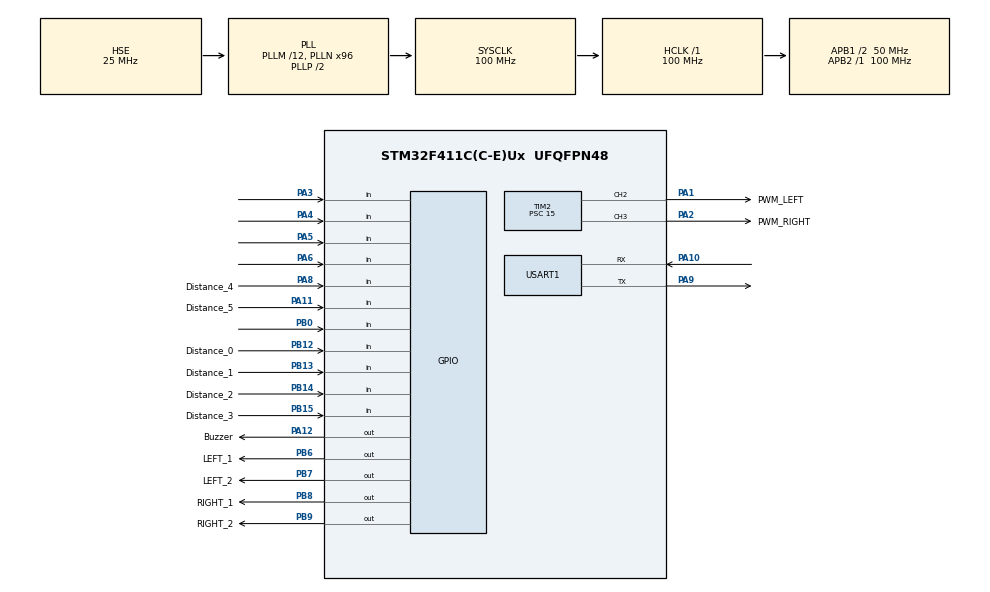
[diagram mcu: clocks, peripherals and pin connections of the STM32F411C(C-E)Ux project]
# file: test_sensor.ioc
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Mcu.Family=STM32F4
Mcu.Name=STM32F411C(C-E)Ux
Mcu.Package=UFQFPN48
NVIC.PriorityGroup=NVIC_PRIORITYGROUP_4
PA1.GPIO_Label=PWM_LEFT
PA1.Signal=S_TIM2_CH2
PA10.Mode=Asynchronous
PA10.Signal=USART1_RX
PA11.GPIO_Label=Distance_5
PA11.Signal=GPIO_Input
PA12.GPIO_Label=Buzzer
PA12.Signal=GPIO_Output
PA13.Mode=Serial_Wire
PA13.Signal=SYS_JTMS-SWDIO
PA14.Mode=Serial_Wire
PA14.Signal=SYS_JTCK-SWCLK
PA2.GPIO_Label=PWM_RIGHT
PA2.Signal=S_TIM2_CH3
PA3.Signal=GPIO_Input
PA4.Signal=GPIO_Input
PA5.Signal=GPIO_Input
PA6.Signal=GPIO_Input
PA8.GPIO_Label=Distance_4
PA8.Signal=GPIO_Input
PA9.Mode=Asynchronous
PA9.Signal=USART1_TX
PB0.Signal=GPIO_Input
PB12.GPIO_Label=Distance_0
PB12.Signal=GPIO_Input
PB13.GPIO_Label=Distance_1
PB13.Signal=GPIO_Input
PB14.GPIO_Label=Distance_2
PB14.Signal=GPIO_Input
PB15.GPIO_Label=Distance_3
PB15.Signal=GPIO_Input
PB6.GPIO_Label=LEFT_1
PB6.Signal=GPIO_Output
PB7.GPIO_Label=LEFT_2
PB7.Signal=GPIO_Output
PB8.GPIO_Label=RIGHT_1
PB8.Signal=GPIO_Output
PB9.GPIO_Label=RIGHT_2
PB9.Signal=GPIO_Output
PH0\ -\ OSC_IN.Mode=HSE-External-Oscillator
PH0\ -\ OSC_IN.Signal=RCC_OSC_IN
PH1\ -\ OSC_OUT.Mode=HSE-External-Oscillator
PH1\ -\ OSC_OUT.Signal=RCC_OSC_OUT
ProjectManager.HeapSize=0x200
ProjectManager.StackSize=0x400
ProjectManager.TargetToolchain=STM32CubeIDE
RCC.48MHZClocksFreq_Value=50000000
RCC.AHBFreq_Value=100000000
RCC.APB1CLKDivider=RCC_HCLK_DIV2
RCC.APB1Freq_Value=50000000
RCC.APB1TimFreq_Value=100000000
RCC.APB2Freq_Value=100000000
RCC.APB2TimFreq_Value=100000000
RCC.CortexFreq_Value=100000000
RCC.HCLKFreq_Value=100000000
RCC.HSE_VALUE=25000000
RCC.HSI_VALUE=16000000
RCC.LSE_VALUE=32768
RCC.PLLM=12
RCC.PLLN=96
RCC.PLLSourceVirtual=RCC_PLLSOURCE_HSE
RCC.SYSCLKFreq_VALUE=100000000
RCC.SYSCLKSource=RCC_SYSCLKSOURCE_PLLCLK
RCC.VCOOutputFreq_Value=200000000
SH.S_TIM2_CH2.0=TIM2_CH2,PWM Generation2 CH2
SH.S_TIM2_CH3.0=TIM2_CH3,PWM Generation3 CH3
TIM2.AutoReloadPreload=TIM_AUTORELOAD_PRELOAD_ENABLE
TIM2.Channel-PWM\ Generation2\ CH2=TIM_CHANNEL_2
TIM2.Channel-PWM\ Generation3\ CH3=TIM_CHANNEL_3
TIM2.Period=999
TIM2.Prescaler=15
USART1.VirtualMode=VM_ASYNC
VP_TIM2_VS_ClockSourceINT.Mode=Internal
board=custom

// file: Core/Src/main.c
/* USER CODE BEGIN Header */
/**
  ******************************************************************************
  * @file           : main.c
  * @brief          : Main program body
  ******************************************************************************
  */
/* USER CODE END Header */

#include "main.h"
#include "tim.h"
#include "usart.h"
#include "gpio.h"
#include <stdio.h>

/* USER CODE BEGIN Includes */
#include "TCRT5000.h"
#include "Motor.h"
#include "E3F.h"
/* USER CODE END Includes */

/* USER CODE BEGIN PTD */
typedef enum {
    STATE_SURVIVAL,
    STATE_ATTACK,
    STATE_DEFENSE,
    STATE_SEARCH,
    STATE_WAITING
} RobotState_t;
/* USER CODE END PTD */

/* USER CODE BEGIN PV */
Motor_t motorL, motorR;
LineArray_t LineArray;

E3FArray_t DistanceArray;
GPIO_TypeDef* e3f_ports[E3F_COUNT] = {GPIOB, GPIOB, GPIOB, GPIOB, GPIOA, GPIOA};
uint16_t e3f_pins[E3F_COUNT] = {GPIO_PIN_12, GPIO_PIN_13, GPIO_PIN_14, GPIO_PIN_15, GPIO_PIN_8, GPIO_PIN_11};

RobotState_t CurrentState = STATE_WAITING;
/* USER CODE END PV */

void SystemClock_Config(void);

/* USER CODE BEGIN PFP */
int _write(int file, char *ptr, int len) {
    HAL_UART_Transmit(&huart1, (uint8_t *)ptr, len, HAL_MAX_DELAY);
    return len;
}
/* USER CODE END PFP */

/* USER CODE BEGIN 0 */
void Survival_Mode(void);
void Attack_Mode(void);
void Defense_Mode(void);
void Search_Mode(void);
/* USER CODE END 0 */

int main(void)
{

    /* MCU Configuration--------------------------------------------------------*/
    HAL_Init();
    SystemClock_Config();

    MX_GPIO_Init();
    MX_USART1_UART_Init();
    MX_TIM2_Init();

    /* USER CODE BEGIN 2 */
    Line_Init(&LineArray, true);
    E3FArray_Init(&DistanceArray, e3f_ports, e3f_pins, GPIO_PIN_SET);

    Motor_Init(&motorL, &htim2, TIM_CHANNEL_2, GPIOB, GPIO_PIN_6, GPIOB, GPIO_PIN_7);
    Motor_Init(&motorR, &htim2, TIM_CHANNEL_3, GPIOB, GPIO_PIN_8, GPIOB, GPIO_PIN_9);

    // LUẬT 5 GIÂY VÀ KHỞI ĐỘNG CHIẾN THUẬT
    Motor_SetSpeed(&motorL, 0);
    Motor_SetSpeed(&motorR, 0);
    HAL_Delay(4500);

    // Chiến thuật lao ra giữa sân ban đầu
    Motor_SetSpeed(&motorL, -1000);
    Motor_SetSpeed(&motorR, 1000);
    HAL_Delay(3200);

    static uint32_t last_active_time = 0;
    /* USER CODE END 2 */

    /* Infinite loop */
    while (1)
    {

        /* USER CODE BEGIN 3 */

        // 1. CẬP NHẬT DỮ LIỆU CẢM BIẾN
        Line_Update(&LineArray);
        E3FArray_Update(&DistanceArray);

        uint8_t force_web_update = 0;

        // 2. QUYẾT ĐỊNH TRẠNG THÁI VÀ ĐIỀU KHIỂN ĐỘNG CƠ

        // ƯU TIÊN 1: SINH TỒN
        if (!Line_NoDetection(&LineArray)) {
            if (CurrentState != STATE_SURVIVAL) {
                CurrentState = STATE_SURVIVAL;
                force_web_update = 1;
            }
            Survival_Mode();
        }
        // ƯU TIÊN 2: TẤN CÔNG
        else if (DistanceArray.Results[1] || DistanceArray.Results[2] || DistanceArray.Results[3]) {
            if (CurrentState != STATE_ATTACK) {
                CurrentState = STATE_ATTACK;
                force_web_update = 1;
            }
            Attack_Mode();
        }
        // ƯU TIÊN 3: PHÒNG THỦ
        else if (DistanceArray.Results[0] || DistanceArray.Results[4] || DistanceArray.Results[5]) {
            if (CurrentState != STATE_DEFENSE) {
                CurrentState = STATE_DEFENSE;
                force_web_update = 1;
            }
            Defense_Mode();
        }
        // ƯU TIÊN 4: TÌM KIẾM
        else {
            if (CurrentState != STATE_SEARCH) {
                CurrentState = STATE_SEARCH;
                force_web_update = 1;
            }
            Search_Mode();
        }

        // 3. TÍNH NĂNG CHỐNG ĐƠ 2 GIÂY (ANTI-STALL)
        if (TIM2->CCR2 == 0 && TIM2->CCR3 == 0) {
            // Nếu bị đứng im quá 2000ms (2 giây)
            if (HAL_GetTick() - last_active_time > 2000) {
                Motor_SetSpeed(&motorL, 500);  // Tiến
                Motor_SetSpeed(&motorR, -500); // Lùi -> Xoay phải nhẹ
                HAL_Delay(250);                // Xoay trong 0.25 giây để thoát
                last_active_time = HAL_GetTick(); // Reset lại đồng hồ
            }
        } else {
            // Nếu xe đang chạy bình thường, liên tục cập nhật đồng hồ
            last_active_time = HAL_GetTick();
        }

        // 4. BẮN GÓI TIN TELEMETRY LÊN WEB
        static uint32_t last_telemetry_time = 0;

        if ((HAL_GetTick() - last_telemetry_time >= 100) || force_web_update == 1) {
            printf("{\"type\": \"telemetry\", \"line\": [%d,%d,%d,%d,%d], \"e3f\": [%d,%d,%d,%d,%d,%d], \"motor_l\": %d, \"motor_r\": %d}\n",
                   LineArray.DigitalResults[0], LineArray.DigitalResults[1], LineArray.DigitalResults[2], LineArray.DigitalResults[3], LineArray.DigitalResults[4],
                   DistanceArray.Results[0], DistanceArray.Results[1], DistanceArray.Results[2], DistanceArray.Results[3], DistanceArray.Results[4], DistanceArray.Results[5],
                   (int)TIM2->CCR2, (int)TIM2->CCR3);

            Line_Write_Data(&LineArray);
            Distance_Write_Data(&DistanceArray);

            last_telemetry_time = HAL_GetTick();
            force_web_update = 0;
        }

        HAL_Delay(5);
    }
    /* USER CODE END 3 */
}

void SystemClock_Config(void)
{
    RCC_OscInitTypeDef RCC_OscInitStruct = {0};
    RCC_ClkInitTypeDef RCC_ClkInitStruct = {0};

    __HAL_RCC_PWR_CLK_ENABLE();
    __HAL_PWR_VOLTAGESCALING_CONFIG(PWR_REGULATOR_VOLTAGE_SCALE1);

    RCC_OscInitStruct.OscillatorType = RCC_OSCILLATORTYPE_HSE;
    RCC_OscInitStruct.HSEState = RCC_HSE_ON;
    RCC_OscInitStruct.PLL.PLLState = RCC_PLL_ON;
    RCC_OscInitStruct.PLL.PLLSource = RCC_PLLSOURCE_HSE;
    RCC_OscInitStruct.PLL.PLLM = 12;
    RCC_OscInitStruct.PLL.PLLN = 96;
    RCC_OscInitStruct.PLL.PLLP = RCC_PLLP_DIV2;
    RCC_OscInitStruct.PLL.PLLQ = 4;
    if (HAL_RCC_OscConfig(&RCC_OscInitStruct) != HAL_OK)
    {
        Error_Handler();
    }

    RCC_ClkInitStruct.ClockType = RCC_CLOCKTYPE_HCLK|RCC_CLOCKTYPE_SYSCLK
                                |RCC_CLOCKTYPE_PCLK1|RCC_CLOCKTYPE_PCLK2;
    RCC_ClkInitStruct.SYSCLKSource = RCC_SYSCLKSOURCE_PLLCLK;
    RCC_ClkInitStruct.AHBCLKDivider = RCC_SYSCLK_DIV1;
    RCC_ClkInitStruct.APB1CLKDivider = RCC_HCLK_DIV2;
    RCC_ClkInitStruct.APB2CLKDivider = RCC_HCLK_DIV1;

    if (HAL_RCC_ClockConfig(&RCC_ClkInitStruct, FLASH_LATENCY_3) != HAL_OK)
    {
        Error_Handler();
    }
}

/* USER CODE BEGIN 4 */
void Survival_Mode(void) {
    Motor_SetSpeed(&motorL, 0);
    Motor_SetSpeed(&motorR, 0);
    HAL_Delay(20);

    if (LineArray.DigitalResults[1] || LineArray.DigitalResults[2] || LineArray.DigitalResults[3]) {
        Motor_SetSpeed(&motorL, -800);
        Motor_SetSpeed(&motorR, -800);
        HAL_Delay(300);
        if (LineArray.DigitalResults[1]) {
            Motor_SetSpeed(&motorL, 600);
            Motor_SetSpeed(&motorR, -600);
        } else {
            Motor_SetSpeed(&motorL, -600);
            Motor_SetSpeed(&motorR, 600);
        }
        HAL_Delay(200);
    }
    else if (LineArray.DigitalResults[0] || LineArray.DigitalResults[4]) {
        Motor_SetSpeed(&motorL, 800);
        Motor_SetSpeed(&motorR, 800);
        HAL_Delay(300);
    }

    Motor_SetSpeed(&motorL, 0);
    Motor_SetSpeed(&motorR, 0);
}

void Attack_Mode(void) {
    if (DistanceArray.Results[2]) {
        Motor_SetSpeed(&motorL, 1000);
        Motor_SetSpeed(&motorR, 1000);
    }
    else if (DistanceArray.Results[1]) {
        Motor_SetSpeed(&motorL, 1000);
        Motor_SetSpeed(&motorR, 600);
    }
    else if (DistanceArray.Results[3]) {
        Motor_SetSpeed(&motorL, 600);
        Motor_SetSpeed(&motorR, 1000);
    }
}

void Defense_Mode(void) {
    if (DistanceArray.Results[0]) {
        Motor_SetSpeed(&motorL, -1000);
        Motor_SetSpeed(&motorR, 1000);
    }
    else if (DistanceArray.Results[4]) {
        Motor_SetSpeed(&motorL, 1000);
        Motor_SetSpeed(&motorR, -1000);
    }
    else if (DistanceArray.Results[5]) {
        Motor_SetSpeed(&motorL, 1000);
        Motor_SetSpeed(&motorR, -1000);
    }
}

void Search_Mode(void) {
    Motor_SetSpeed(&motorL, 1000);
    Motor_SetSpeed(&motorR, -1000);
}
/* USER CODE END 4 */

void Error_Handler(void)
{
    __disable_irq();
    while (1)
    {
    }
}
